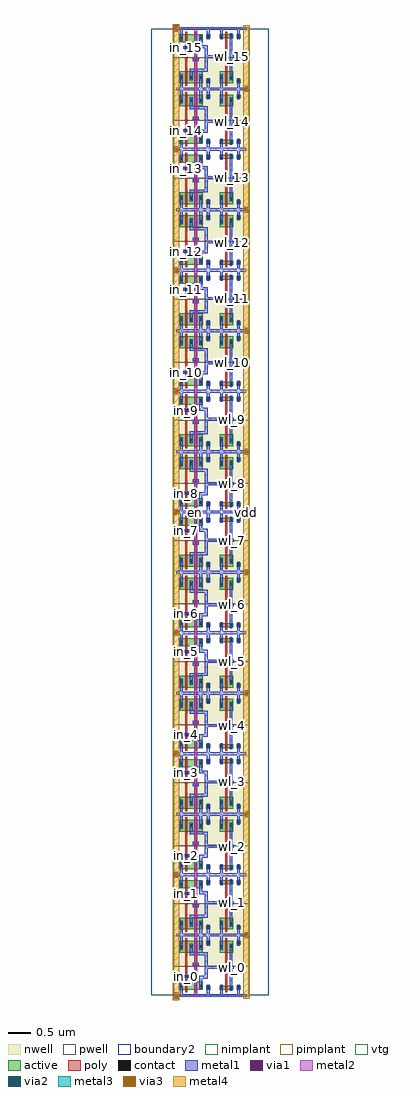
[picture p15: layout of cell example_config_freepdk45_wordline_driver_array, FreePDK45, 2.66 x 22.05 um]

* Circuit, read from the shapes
.subckt example_config_freepdk45_wordline_driver_array en gnd in_0 in_1 in_10 in_11 in_12 in_13 in_14 in_15 in_2 in_3 in_4 in_5 in_6 in_7 in_8 in_9 vdd wl_0 wl_1 wl_10 wl_11 wl_12 wl_13 wl_14 wl_15 wl_2 wl_3 wl_4 wl_5 wl_6 wl_7 wl_8 wl_9
M1 example_config_freepdk45_wordline_driver_0/example_config_freepdk45_pnand2_0/example_config_freepdk45_nmos_m1_w0_180_sm1_dactive_2/D in_0 gnd gnd nfet w=0.18u l=0.05u
M2 example_config_freepdk45_wordline_driver_1/example_config_freepdk45_pnand2_0/example_config_freepdk45_nmos_m1_w0_180_sm1_dactive_2/D in_1 gnd gnd nfet w=0.18u l=0.05u
M3 example_config_freepdk45_wordline_driver_2/example_config_freepdk45_pnand2_0/example_config_freepdk45_nmos_m1_w0_180_sm1_dactive_2/D in_2 gnd gnd nfet w=0.18u l=0.05u
M4 example_config_freepdk45_wordline_driver_3/example_config_freepdk45_pnand2_0/example_config_freepdk45_nmos_m1_w0_180_sm1_dactive_2/D in_3 gnd gnd nfet w=0.18u l=0.05u
M5 example_config_freepdk45_wordline_driver_4/example_config_freepdk45_pnand2_0/example_config_freepdk45_nmos_m1_w0_180_sm1_dactive_2/D in_4 gnd gnd nfet w=0.18u l=0.05u
M6 example_config_freepdk45_wordline_driver_5/example_config_freepdk45_pnand2_0/example_config_freepdk45_nmos_m1_w0_180_sm1_dactive_2/D in_5 gnd gnd nfet w=0.18u l=0.05u
M7 example_config_freepdk45_wordline_driver_6/example_config_freepdk45_pnand2_0/example_config_freepdk45_nmos_m1_w0_180_sm1_dactive_2/D in_6 gnd gnd nfet w=0.18u l=0.05u
M8 example_config_freepdk45_wordline_driver_7/example_config_freepdk45_pnand2_0/example_config_freepdk45_nmos_m1_w0_180_sm1_dactive_2/D in_7 gnd gnd nfet w=0.18u l=0.05u
M9 example_config_freepdk45_wordline_driver_8/example_config_freepdk45_pnand2_0/example_config_freepdk45_nmos_m1_w0_180_sm1_dactive_2/D in_8 gnd gnd nfet w=0.18u l=0.05u
M10 example_config_freepdk45_wordline_driver_9/example_config_freepdk45_pnand2_0/example_config_freepdk45_nmos_m1_w0_180_sm1_dactive_2/D in_9 gnd gnd nfet w=0.18u l=0.05u
M11 example_config_freepdk45_wordline_driver_10/example_config_freepdk45_pnand2_0/example_config_freepdk45_nmos_m1_w0_180_sm1_dactive_2/D in_10 gnd gnd nfet w=0.18u l=0.05u
M12 example_config_freepdk45_wordline_driver_11/example_config_freepdk45_pnand2_0/example_config_freepdk45_nmos_m1_w0_180_sm1_dactive_2/D in_11 gnd gnd nfet w=0.18u l=0.05u
M13 example_config_freepdk45_wordline_driver_12/example_config_freepdk45_pnand2_0/example_config_freepdk45_nmos_m1_w0_180_sm1_dactive_2/D in_12 gnd gnd nfet w=0.18u l=0.05u
M14 example_config_freepdk45_wordline_driver_13/example_config_freepdk45_pnand2_0/example_config_freepdk45_nmos_m1_w0_180_sm1_dactive_2/D in_13 gnd gnd nfet w=0.18u l=0.05u
M15 example_config_freepdk45_wordline_driver_14/example_config_freepdk45_pnand2_0/example_config_freepdk45_nmos_m1_w0_180_sm1_dactive_2/D in_14 gnd gnd nfet w=0.18u l=0.05u
M16 example_config_freepdk45_wordline_driver_15/example_config_freepdk45_pnand2_0/example_config_freepdk45_nmos_m1_w0_180_sm1_dactive_2/D in_15 gnd gnd nfet w=0.18u l=0.05u
M17 example_config_freepdk45_wordline_driver_0/example_config_freepdk45_pinv_1/A en example_config_freepdk45_wordline_driver_0/example_config_freepdk45_pnand2_0/example_config_freepdk45_nmos_m1_w0_180_sm1_dactive_2/D gnd nfet w=0.18u l=0.05u
M18 example_config_freepdk45_wordline_driver_1/example_config_freepdk45_pinv_1/A en example_config_freepdk45_wordline_driver_1/example_config_freepdk45_pnand2_0/example_config_freepdk45_nmos_m1_w0_180_sm1_dactive_2/D gnd nfet w=0.18u l=0.05u
M19 example_config_freepdk45_wordline_driver_2/example_config_freepdk45_pinv_1/A en example_config_freepdk45_wordline_driver_2/example_config_freepdk45_pnand2_0/example_config_freepdk45_nmos_m1_w0_180_sm1_dactive_2/D gnd nfet w=0.18u l=0.05u
M20 example_config_freepdk45_wordline_driver_3/example_config_freepdk45_pinv_1/A en example_config_freepdk45_wordline_driver_3/example_config_freepdk45_pnand2_0/example_config_freepdk45_nmos_m1_w0_180_sm1_dactive_2/D gnd nfet w=0.18u l=0.05u
M21 example_config_freepdk45_wordline_driver_4/example_config_freepdk45_pinv_1/A en example_config_freepdk45_wordline_driver_4/example_config_freepdk45_pnand2_0/example_config_freepdk45_nmos_m1_w0_180_sm1_dactive_2/D gnd nfet w=0.18u l=0.05u
M22 example_config_freepdk45_wordline_driver_5/example_config_freepdk45_pinv_1/A en example_config_freepdk45_wordline_driver_5/example_config_freepdk45_pnand2_0/example_config_freepdk45_nmos_m1_w0_180_sm1_dactive_2/D gnd nfet w=0.18u l=0.05u
M23 example_config_freepdk45_wordline_driver_6/example_config_freepdk45_pinv_1/A en example_config_freepdk45_wordline_driver_6/example_config_freepdk45_pnand2_0/example_config_freepdk45_nmos_m1_w0_180_sm1_dactive_2/D gnd nfet w=0.18u l=0.05u
M24 example_config_freepdk45_wordline_driver_7/example_config_freepdk45_pinv_1/A en example_config_freepdk45_wordline_driver_7/example_config_freepdk45_pnand2_0/example_config_freepdk45_nmos_m1_w0_180_sm1_dactive_2/D gnd nfet w=0.18u l=0.05u
M25 example_config_freepdk45_wordline_driver_8/example_config_freepdk45_pinv_1/A en example_config_freepdk45_wordline_driver_8/example_config_freepdk45_pnand2_0/example_config_freepdk45_nmos_m1_w0_180_sm1_dactive_2/D gnd nfet w=0.18u l=0.05u
M26 example_config_freepdk45_wordline_driver_9/example_config_freepdk45_pinv_1/A en example_config_freepdk45_wordline_driver_9/example_config_freepdk45_pnand2_0/example_config_freepdk45_nmos_m1_w0_180_sm1_dactive_2/D gnd nfet w=0.18u l=0.05u
M27 example_config_freepdk45_wordline_driver_10/example_config_freepdk45_pinv_1/A en example_config_freepdk45_wordline_driver_10/example_config_freepdk45_pnand2_0/example_config_freepdk45_nmos_m1_w0_180_sm1_dactive_2/D gnd nfet w=0.18u l=0.05u
M28 example_config_freepdk45_wordline_driver_11/example_config_freepdk45_pinv_1/A en example_config_freepdk45_wordline_driver_11/example_config_freepdk45_pnand2_0/example_config_freepdk45_nmos_m1_w0_180_sm1_dactive_2/D gnd nfet w=0.18u l=0.05u
M29 example_config_freepdk45_wordline_driver_12/example_config_freepdk45_pinv_1/A en example_config_freepdk45_wordline_driver_12/example_config_freepdk45_pnand2_0/example_config_freepdk45_nmos_m1_w0_180_sm1_dactive_2/D gnd nfet w=0.18u l=0.05u
M30 example_config_freepdk45_wordline_driver_13/example_config_freepdk45_pinv_1/A en example_config_freepdk45_wordline_driver_13/example_config_freepdk45_pnand2_0/example_config_freepdk45_nmos_m1_w0_180_sm1_dactive_2/D gnd nfet w=0.18u l=0.05u
M31 example_config_freepdk45_wordline_driver_14/example_config_freepdk45_pinv_1/A en example_config_freepdk45_wordline_driver_14/example_config_freepdk45_pnand2_0/example_config_freepdk45_nmos_m1_w0_180_sm1_dactive_2/D gnd nfet w=0.18u l=0.05u
M32 example_config_freepdk45_wordline_driver_15/example_config_freepdk45_pinv_1/A en example_config_freepdk45_wordline_driver_15/example_config_freepdk45_pnand2_0/example_config_freepdk45_nmos_m1_w0_180_sm1_dactive_2/D gnd nfet w=0.18u l=0.05u
M33 wl_0 example_config_freepdk45_wordline_driver_0/example_config_freepdk45_pinv_1/A gnd gnd nfet w=0.09u l=0.05u
M34 wl_1 example_config_freepdk45_wordline_driver_1/example_config_freepdk45_pinv_1/A gnd gnd nfet w=0.09u l=0.05u
M35 wl_2 example_config_freepdk45_wordline_driver_2/example_config_freepdk45_pinv_1/A gnd gnd nfet w=0.09u l=0.05u
M36 wl_3 example_config_freepdk45_wordline_driver_3/example_config_freepdk45_pinv_1/A gnd gnd nfet w=0.09u l=0.05u
M37 wl_4 example_config_freepdk45_wordline_driver_4/example_config_freepdk45_pinv_1/A gnd gnd nfet w=0.09u l=0.05u
M38 wl_5 example_config_freepdk45_wordline_driver_5/example_config_freepdk45_pinv_1/A gnd gnd nfet w=0.09u l=0.05u
M39 wl_6 example_config_freepdk45_wordline_driver_6/example_config_freepdk45_pinv_1/A gnd gnd nfet w=0.09u l=0.05u
M40 wl_7 example_config_freepdk45_wordline_driver_7/example_config_freepdk45_pinv_1/A gnd gnd nfet w=0.09u l=0.05u
M41 wl_8 example_config_freepdk45_wordline_driver_8/example_config_freepdk45_pinv_1/A gnd gnd nfet w=0.09u l=0.05u
M42 wl_9 example_config_freepdk45_wordline_driver_9/example_config_freepdk45_pinv_1/A gnd gnd nfet w=0.09u l=0.05u
M43 wl_10 example_config_freepdk45_wordline_driver_10/example_config_freepdk45_pinv_1/A gnd gnd nfet w=0.09u l=0.05u
M44 wl_11 example_config_freepdk45_wordline_driver_11/example_config_freepdk45_pinv_1/A gnd gnd nfet w=0.09u l=0.05u
M45 wl_12 example_config_freepdk45_wordline_driver_12/example_config_freepdk45_pinv_1/A gnd gnd nfet w=0.09u l=0.05u
M46 wl_13 example_config_freepdk45_wordline_driver_13/example_config_freepdk45_pinv_1/A gnd gnd nfet w=0.09u l=0.05u
M47 wl_14 example_config_freepdk45_wordline_driver_14/example_config_freepdk45_pinv_1/A gnd gnd nfet w=0.09u l=0.05u
M48 wl_15 example_config_freepdk45_wordline_driver_15/example_config_freepdk45_pinv_1/A gnd gnd nfet w=0.09u l=0.05u
M49 example_config_freepdk45_wordline_driver_0/example_config_freepdk45_pinv_1/A in_0 vdd vdd pfet w=0.27u l=0.05u
M50 example_config_freepdk45_wordline_driver_1/example_config_freepdk45_pinv_1/A in_1 vdd vdd pfet w=0.27u l=0.05u
M51 example_config_freepdk45_wordline_driver_2/example_config_freepdk45_pinv_1/A in_2 vdd vdd pfet w=0.27u l=0.05u
M52 example_config_freepdk45_wordline_driver_3/example_config_freepdk45_pinv_1/A in_3 vdd vdd pfet w=0.27u l=0.05u
M53 example_config_freepdk45_wordline_driver_4/example_config_freepdk45_pinv_1/A in_4 vdd vdd pfet w=0.27u l=0.05u
M54 example_config_freepdk45_wordline_driver_5/example_config_freepdk45_pinv_1/A in_5 vdd vdd pfet w=0.27u l=0.05u
M55 example_config_freepdk45_wordline_driver_6/example_config_freepdk45_pinv_1/A in_6 vdd vdd pfet w=0.27u l=0.05u
M56 example_config_freepdk45_wordline_driver_7/example_config_freepdk45_pinv_1/A in_7 vdd vdd pfet w=0.27u l=0.05u
M57 example_config_freepdk45_wordline_driver_8/example_config_freepdk45_pinv_1/A in_8 vdd vdd pfet w=0.27u l=0.05u
M58 example_config_freepdk45_wordline_driver_9/example_config_freepdk45_pinv_1/A in_9 vdd vdd pfet w=0.27u l=0.05u
M59 example_config_freepdk45_wordline_driver_10/example_config_freepdk45_pinv_1/A in_10 vdd vdd pfet w=0.27u l=0.05u
M60 example_config_freepdk45_wordline_driver_11/example_config_freepdk45_pinv_1/A in_11 vdd vdd pfet w=0.27u l=0.05u
M61 example_config_freepdk45_wordline_driver_12/example_config_freepdk45_pinv_1/A in_12 vdd vdd pfet w=0.27u l=0.05u
M62 example_config_freepdk45_wordline_driver_13/example_config_freepdk45_pinv_1/A in_13 vdd vdd pfet w=0.27u l=0.05u
M63 example_config_freepdk45_wordline_driver_14/example_config_freepdk45_pinv_1/A in_14 vdd vdd pfet w=0.27u l=0.05u
M64 example_config_freepdk45_wordline_driver_15/example_config_freepdk45_pinv_1/A in_15 vdd vdd pfet w=0.27u l=0.05u
M65 vdd en example_config_freepdk45_wordline_driver_0/example_config_freepdk45_pinv_1/A vdd pfet w=0.27u l=0.05u
M66 vdd en example_config_freepdk45_wordline_driver_1/example_config_freepdk45_pinv_1/A vdd pfet w=0.27u l=0.05u
M67 vdd en example_config_freepdk45_wordline_driver_2/example_config_freepdk45_pinv_1/A vdd pfet w=0.27u l=0.05u
M68 vdd en example_config_freepdk45_wordline_driver_3/example_config_freepdk45_pinv_1/A vdd pfet w=0.27u l=0.05u
M69 vdd en example_config_freepdk45_wordline_driver_4/example_config_freepdk45_pinv_1/A vdd pfet w=0.27u l=0.05u
M70 vdd en example_config_freepdk45_wordline_driver_5/example_config_freepdk45_pinv_1/A vdd pfet w=0.27u l=0.05u
M71 vdd en example_config_freepdk45_wordline_driver_6/example_config_freepdk45_pinv_1/A vdd pfet w=0.27u l=0.05u
M72 vdd en example_config_freepdk45_wordline_driver_7/example_config_freepdk45_pinv_1/A vdd pfet w=0.27u l=0.05u
M73 vdd en example_config_freepdk45_wordline_driver_8/example_config_freepdk45_pinv_1/A vdd pfet w=0.27u l=0.05u
M74 vdd en example_config_freepdk45_wordline_driver_9/example_config_freepdk45_pinv_1/A vdd pfet w=0.27u l=0.05u
M75 vdd en example_config_freepdk45_wordline_driver_10/example_config_freepdk45_pinv_1/A vdd pfet w=0.27u l=0.05u
M76 vdd en example_config_freepdk45_wordline_driver_11/example_config_freepdk45_pinv_1/A vdd pfet w=0.27u l=0.05u
M77 vdd en example_config_freepdk45_wordline_driver_12/example_config_freepdk45_pinv_1/A vdd pfet w=0.27u l=0.05u
M78 vdd en example_config_freepdk45_wordline_driver_13/example_config_freepdk45_pinv_1/A vdd pfet w=0.27u l=0.05u
M79 vdd en example_config_freepdk45_wordline_driver_14/example_config_freepdk45_pinv_1/A vdd pfet w=0.27u l=0.05u
M80 vdd en example_config_freepdk45_wordline_driver_15/example_config_freepdk45_pinv_1/A vdd pfet w=0.27u l=0.05u
M81 wl_0 example_config_freepdk45_wordline_driver_0/example_config_freepdk45_pinv_1/A vdd vdd pfet w=0.27u l=0.05u
M82 wl_1 example_config_freepdk45_wordline_driver_1/example_config_freepdk45_pinv_1/A vdd vdd pfet w=0.27u l=0.05u
M83 wl_2 example_config_freepdk45_wordline_driver_2/example_config_freepdk45_pinv_1/A vdd vdd pfet w=0.27u l=0.05u
M84 wl_3 example_config_freepdk45_wordline_driver_3/example_config_freepdk45_pinv_1/A vdd vdd pfet w=0.27u l=0.05u
M85 wl_4 example_config_freepdk45_wordline_driver_4/example_config_freepdk45_pinv_1/A vdd vdd pfet w=0.27u l=0.05u
M86 wl_5 example_config_freepdk45_wordline_driver_5/example_config_freepdk45_pinv_1/A vdd vdd pfet w=0.27u l=0.05u
M87 wl_6 example_config_freepdk45_wordline_driver_6/example_config_freepdk45_pinv_1/A vdd vdd pfet w=0.27u l=0.05u
M88 wl_7 example_config_freepdk45_wordline_driver_7/example_config_freepdk45_pinv_1/A vdd vdd pfet w=0.27u l=0.05u
M89 wl_8 example_config_freepdk45_wordline_driver_8/example_config_freepdk45_pinv_1/A vdd vdd pfet w=0.27u l=0.05u
M90 wl_9 example_config_freepdk45_wordline_driver_9/example_config_freepdk45_pinv_1/A vdd vdd pfet w=0.27u l=0.05u
M91 wl_10 example_config_freepdk45_wordline_driver_10/example_config_freepdk45_pinv_1/A vdd vdd pfet w=0.27u l=0.05u
M92 wl_11 example_config_freepdk45_wordline_driver_11/example_config_freepdk45_pinv_1/A vdd vdd pfet w=0.27u l=0.05u
M93 wl_12 example_config_freepdk45_wordline_driver_12/example_config_freepdk45_pinv_1/A vdd vdd pfet w=0.27u l=0.05u
M94 wl_13 example_config_freepdk45_wordline_driver_13/example_config_freepdk45_pinv_1/A vdd vdd pfet w=0.27u l=0.05u
M95 wl_14 example_config_freepdk45_wordline_driver_14/example_config_freepdk45_pinv_1/A vdd vdd pfet w=0.27u l=0.05u
M96 wl_15 example_config_freepdk45_wordline_driver_15/example_config_freepdk45_pinv_1/A vdd vdd pfet w=0.27u l=0.05u
.ends

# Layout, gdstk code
import gdstk
lib = gdstk.Library(unit=1e-6, precision=5e-10)
def R(c, l, rs):  # rectangles x0, y0, x1, y1
    for r in rs: c.add(gdstk.rectangle(r[:2], r[2:], *l))
active = (1, 0)
pwell = (2, 0)
nwell = (3, 0)
nimplant = (4, 0)
pimplant = (5, 0)
vtg = (6, 0)
poly = (9, 0)
contact = (10, 0)
metal1 = (11, 0)
via1 = (12, 0)
metal2 = (13, 0)
via2 = (14, 0)
metal3 = (15, 0)
via3 = (16, 0)
metal4 = (17, 0)
boundary2 = (239, 0)

example_config_freepdk45 = lib.new_cell('example_config_freepdk45_contact_11')
R(example_config_freepdk45, active, [(0,0.0225,0.09,0.1125)])
R(example_config_freepdk45, nwell, [(-0.055,-0.0325,0.145,0.1675)])
R(example_config_freepdk45, pimplant, [(0,0.0225,0.09,0.1125)])
R(example_config_freepdk45, contact, [(0.0125,0.035,0.0775,0.1)])
R(example_config_freepdk45, metal1, [(0.0125,0,0.0775,0.135)])
R(example_config_freepdk45, boundary2, [(-0.055,-0.0325,0.145,0.1675)])

c_example_config_freepdk45 = lib.new_cell('example_config_freepdk45_pmos_m1_w0_270_sm1_dm1')
R(c_example_config_freepdk45, active, [(0,0,0.305,0.27)])
R(c_example_config_freepdk45, nwell, [(-0.08,-0.08,0.385,0.35)])
R(c_example_config_freepdk45, pimplant, [(0,0,0.305,0.27)])
R(c_example_config_freepdk45, vtg, [(-0.08,-0.08,0.385,0.35)])
R(c_example_config_freepdk45, poly, [(0.1275,-0.055,0.1775,0.325), (0.1275,-0.055,0.1775,0.325)])
R(c_example_config_freepdk45, metal1, [(0.0125,0.0675,0.0775,0.2025), (0.2275,0.0675,0.2925,0.2025)])
R(c_example_config_freepdk45, boundary2, [(-0.08,-0.08,0.385,0.35)])
c_example_config_freepdk45.add(gdstk.Reference(example_config_freepdk45, (0,0.0675)))
c_example_config_freepdk45.add(gdstk.Reference(example_config_freepdk45, (0.215,0.0675)))
c_example_config_freepdk45.add(gdstk.Label('G', (0.1525,0.135), layer=9, texttype=0))
c_example_config_freepdk45.add(gdstk.Label('S', (0.045,0.135), layer=11, texttype=0))
c_example_config_freepdk45.add(gdstk.Label('D', (0.26,0.135), layer=11, texttype=0))

c_example_config_freepdk45_ = lib.new_cell('example_config_freepdk45_contact_10')
R(c_example_config_freepdk45_, active, [(0,0.0225,0.09,0.1125)])
R(c_example_config_freepdk45_, pwell, [(-0.055,-0.0325,0.145,0.1675)])
R(c_example_config_freepdk45_, nimplant, [(0,0.0225,0.09,0.1125)])
R(c_example_config_freepdk45_, contact, [(0.0125,0.035,0.0775,0.1)])
R(c_example_config_freepdk45_, metal1, [(0.0125,0,0.0775,0.135)])
R(c_example_config_freepdk45_, boundary2, [(-0.055,-0.0325,0.145,0.1675)])

c_example_config_freepdk45__ = lib.new_cell('example_config_freepdk45_nmos_m1_w0_180_sm1_dactive')
R(c_example_config_freepdk45__, active, [(0,0,0.305,0.18), (0.215,0.045,0.305,0.135)])
R(c_example_config_freepdk45__, pwell, [(-0.08,-0.08,0.385,0.26)])
R(c_example_config_freepdk45__, nimplant, [(0,0,0.305,0.18)])
R(c_example_config_freepdk45__, vtg, [(-0.08,-0.08,0.385,0.26)])
R(c_example_config_freepdk45__, poly, [(0.1275,-0.055,0.1775,0.235), (0.1275,-0.055,0.1775,0.235)])
R(c_example_config_freepdk45__, metal1, [(0.0125,0.0225,0.0775,0.1575)])
R(c_example_config_freepdk45__, boundary2, [(-0.08,-0.08,0.385,0.26)])
c_example_config_freepdk45__.add(gdstk.Reference(c_example_config_freepdk45_, (0,0.0225)))
c_example_config_freepdk45__.add(gdstk.Label('G', (0.1525,0.09), layer=9, texttype=0))
c_example_config_freepdk45__.add(gdstk.Label('S', (0.045,0.09), layer=11, texttype=0))
c_example_config_freepdk45__.add(gdstk.Label('D', (0.26,0.09), layer=1, texttype=0))

c_example_config_freepdk45___ = lib.new_cell('example_config_freepdk45_nmos_m1_w0_180_sactive_dm1')
R(c_example_config_freepdk45___, active, [(0,0,0.305,0.18), (0,0.045,0.09,0.135)])
R(c_example_config_freepdk45___, pwell, [(-0.08,-0.08,0.385,0.26)])
R(c_example_config_freepdk45___, nimplant, [(0,0,0.305,0.18)])
R(c_example_config_freepdk45___, vtg, [(-0.08,-0.08,0.385,0.26)])
R(c_example_config_freepdk45___, poly, [(0.1275,-0.055,0.1775,0.235), (0.1275,-0.055,0.1775,0.235)])
R(c_example_config_freepdk45___, metal1, [(0.2275,0.0225,0.2925,0.1575)])
R(c_example_config_freepdk45___, boundary2, [(-0.08,-0.08,0.385,0.26)])
c_example_config_freepdk45___.add(gdstk.Reference(c_example_config_freepdk45_, (0.215,0.0225)))
c_example_config_freepdk45___.add(gdstk.Label('G', (0.1525,0.09), layer=9, texttype=0))
c_example_config_freepdk45___.add(gdstk.Label('S', (0.045,0.09), layer=1, texttype=0))
c_example_config_freepdk45___.add(gdstk.Label('D', (0.26,0.09), layer=11, texttype=0))

c_example_config_freepdk45____ = lib.new_cell('example_config_freepdk45_contact_12')
R(c_example_config_freepdk45____, active, [(0,0.0225,0.09,0.1125)])
R(c_example_config_freepdk45____, nwell, [(-0.055,-0.0325,0.145,0.1675)])
R(c_example_config_freepdk45____, nimplant, [(0,0.0225,0.09,0.1125)])
R(c_example_config_freepdk45____, contact, [(0.0125,0.035,0.0775,0.1)])
R(c_example_config_freepdk45____, metal1, [(0.0125,0,0.0775,0.135)])
R(c_example_config_freepdk45____, boundary2, [(-0.055,-0.0325,0.145,0.1675)])

c_example_config_freepdk45_____ = lib.new_cell('example_config_freepdk45_contact_13')
R(c_example_config_freepdk45_____, active, [(0,0.0225,0.09,0.1125)])
R(c_example_config_freepdk45_____, pwell, [(-0.055,-0.0325,0.145,0.1675)])
R(c_example_config_freepdk45_____, pimplant, [(0,0.0225,0.09,0.1125)])
R(c_example_config_freepdk45_____, contact, [(0.0125,0.035,0.0775,0.1)])
R(c_example_config_freepdk45_____, metal1, [(0.0125,0,0.0775,0.135)])
R(c_example_config_freepdk45_____, boundary2, [(-0.055,-0.0325,0.145,0.1675)])

c_example_config_freepdk45______ = lib.new_cell('example_config_freepdk45_contact_14')
R(c_example_config_freepdk45______, poly, [(0.03,0,0.105,0.075)])
R(c_example_config_freepdk45______, contact, [(0.035,0.005,0.1,0.07)])
R(c_example_config_freepdk45______, metal1, [(0,0.005,0.135,0.07)])
R(c_example_config_freepdk45______, boundary2, [(0,0,0.135,0.075)])

c_example_config_freepdk45_______ = lib.new_cell('example_config_freepdk45_pnand2')
R(c_example_config_freepdk45_______, pwell, [(-0.055,-0.0325,0.9575,0.655)])
R(c_example_config_freepdk45_______, nwell, [(-0.055,0.655,0.9575,1.4)])
R(c_example_config_freepdk45_______, vtg, [(-0.055,-0.0325,0.9575,0.655), (-0.055,0.655,0.9575,1.4)])
R(c_example_config_freepdk45_______, poly, [(0.2075,0.36,0.2575,0.915), (0.4225,0.36,0.4725,0.915), (0.2075,0.39,0.2325,0.465), (0.4225,0.67,0.4475,0.745)])
R(c_example_config_freepdk45_______, metal1, [(0,-0.0325,0.9025,0.0325), (0.0925,-0.0325,0.1575,0.1475), (0.6925,0,0.7575,0.17), (0.5225,0.2825,0.5875,0.4125), (0.5225,0.38,0.5875,0.445), (0.555,0.38,0.685,0.445), (0.6525,0.38,0.7175,0.445), (0.165,0.395,0.3,0.46), (0.6525,0.4125,0.7175,0.94), (0.38,0.675,0.515,0.74), (0.3075,0.9075,0.3725,0.9725), (0.34,0.9075,0.685,0.9725), (0.6525,0.9075,0.7175,0.9725), (0.3075,0.94,0.3725,1.0375), (0.0925,1.0375,0.1575,1.3975), (0.5225,1.0375,0.5875,1.3975), (0.6925,1.195,0.7575,1.365), (0,1.3325,0.9025,1.3975)])
R(c_example_config_freepdk45_______, boundary2, [(0,0,0.9025,1.365), (0,0,0.9025,1.365)])
c_example_config_freepdk45_______.add(gdstk.Reference(c_example_config_freepdk45, (0.08,0.97)))
c_example_config_freepdk45_______.add(gdstk.Reference(c_example_config_freepdk45, (0.295,0.97)))
c_example_config_freepdk45_______.add(gdstk.Reference(c_example_config_freepdk45__, (0.08,0.125)))
c_example_config_freepdk45_______.add(gdstk.Reference(c_example_config_freepdk45___, (0.295,0.125)))
c_example_config_freepdk45_______.add(gdstk.Reference(c_example_config_freepdk45____, (0.68,1.1275)))
c_example_config_freepdk45_______.add(gdstk.Reference(c_example_config_freepdk45_____, (0.68,0.1025)))
c_example_config_freepdk45_______.add(gdstk.Reference(c_example_config_freepdk45______, (0.165,0.39)))
c_example_config_freepdk45_______.add(gdstk.Reference(c_example_config_freepdk45______, (0.38,0.67)))
c_example_config_freepdk45_______.add(gdstk.Label('Z', (0.685,0.94), layer=11, texttype=0))
c_example_config_freepdk45_______.add(gdstk.Label('gnd', (0.451,0), layer=11, texttype=0))
c_example_config_freepdk45_______.add(gdstk.Label('vdd', (0.451,1.365), layer=11, texttype=0))
c_example_config_freepdk45_______.add(gdstk.Label('A', (0.2325,0.4275), layer=11, texttype=0))
c_example_config_freepdk45_______.add(gdstk.Label('B', (0.4475,0.7075), layer=11, texttype=0))

c_example_config_freepdk45________ = lib.new_cell('example_config_freepdk45_pmos_m1_w0_270_sm1_dm1_da_p')
R(c_example_config_freepdk45________, active, [(0,0,0.305,0.27)])
R(c_example_config_freepdk45________, nwell, [(-0.08,-0.08,0.385,0.35)])
R(c_example_config_freepdk45________, pimplant, [(0,0,0.305,0.27)])
R(c_example_config_freepdk45________, vtg, [(-0.08,-0.08,0.385,0.35)])
R(c_example_config_freepdk45________, poly, [(0.1275,-0.055,0.1775,0.325), (0.1275,-0.055,0.1775,0.325)])
R(c_example_config_freepdk45________, metal1, [(0.0125,0.0675,0.0775,0.2025), (0.2275,0.0675,0.2925,0.2025)])
R(c_example_config_freepdk45________, boundary2, [(-0.08,-0.08,0.385,0.35)])
c_example_config_freepdk45________.add(gdstk.Reference(example_config_freepdk45, (0,0.0675)))
c_example_config_freepdk45________.add(gdstk.Reference(example_config_freepdk45, (0.215,0.0675)))
c_example_config_freepdk45________.add(gdstk.Label('G', (0.1525,0.135), layer=9, texttype=0))
c_example_config_freepdk45________.add(gdstk.Label('S', (0.045,0.135), layer=11, texttype=0))
c_example_config_freepdk45________.add(gdstk.Label('D', (0.26,0.135), layer=11, texttype=0))

c_example_config_freepdk45_________ = lib.new_cell('example_config_freepdk45_nmos_m1_w0_090_sm1_dm1_da_p')
R(c_example_config_freepdk45_________, active, [(0,0,0.305,0.09)])
R(c_example_config_freepdk45_________, pwell, [(-0.08,-0.08,0.385,0.17)])
R(c_example_config_freepdk45_________, nimplant, [(0,0,0.305,0.09)])
R(c_example_config_freepdk45_________, vtg, [(-0.08,-0.08,0.385,0.17)])
R(c_example_config_freepdk45_________, poly, [(0.1275,-0.055,0.1775,0.145), (0.1275,-0.055,0.1775,0.145)])
R(c_example_config_freepdk45_________, metal1, [(0.0125,-0.0225,0.0775,0.1125), (0.2275,-0.0225,0.2925,0.1125)])
R(c_example_config_freepdk45_________, boundary2, [(-0.08,-0.08,0.385,0.17)])
c_example_config_freepdk45_________.add(gdstk.Reference(c_example_config_freepdk45_, (0,-0.0225)))
c_example_config_freepdk45_________.add(gdstk.Reference(c_example_config_freepdk45_, (0.215,-0.0225)))
c_example_config_freepdk45_________.add(gdstk.Label('G', (0.1525,0.045), layer=9, texttype=0))
c_example_config_freepdk45_________.add(gdstk.Label('S', (0.045,0.045), layer=11, texttype=0))
c_example_config_freepdk45_________.add(gdstk.Label('D', (0.26,0.045), layer=11, texttype=0))

c_example_config_freepdk45__________ = lib.new_cell('example_config_freepdk45_pinv')
R(c_example_config_freepdk45__________, pwell, [(-0.055,-0.0325,0.7425,0.655)])
R(c_example_config_freepdk45__________, nwell, [(-0.055,0.655,0.7425,1.4)])
R(c_example_config_freepdk45__________, vtg, [(-0.055,-0.0325,0.7425,0.655), (-0.055,0.655,0.7425,1.4)])
R(c_example_config_freepdk45__________, poly, [(0.2075,0.27,0.2575,0.915), (0.14,0.6,0.2075,0.675)])
R(c_example_config_freepdk45__________, metal1, [(0,-0.0325,0.6875,0.0325), (0.0925,-0.0325,0.1575,0.1025), (0.4775,0,0.5425,0.17), (0.3075,0.1025,0.3725,1.1725), (0.0725,0.605,0.2075,0.67), (0.34,0.605,0.405,0.67), (0.0925,1.0375,0.1575,1.3975), (0.4775,1.195,0.5425,1.365), (0,1.3325,0.6875,1.3975)])
R(c_example_config_freepdk45__________, boundary2, [(0,0,0.6875,1.365), (0,0,0.6875,1.365)])
c_example_config_freepdk45__________.add(gdstk.Reference(c_example_config_freepdk45________, (0.08,0.97)))
c_example_config_freepdk45__________.add(gdstk.Reference(c_example_config_freepdk45_________, (0.08,0.125)))
c_example_config_freepdk45__________.add(gdstk.Reference(c_example_config_freepdk45____, (0.465,1.1275)))
c_example_config_freepdk45__________.add(gdstk.Reference(c_example_config_freepdk45_____, (0.465,0.1025)))
c_example_config_freepdk45__________.add(gdstk.Reference(c_example_config_freepdk45______, (0.0725,0.6)))
c_example_config_freepdk45__________.add(gdstk.Label('A', (0.14,0.6375), layer=11, texttype=0))
c_example_config_freepdk45__________.add(gdstk.Label('Z', (0.3725,0.6375), layer=11, texttype=0))
c_example_config_freepdk45__________.add(gdstk.Label('gnd', (0.344,0), layer=11, texttype=0))
c_example_config_freepdk45__________.add(gdstk.Label('vdd', (0.344,1.365), layer=11, texttype=0))

c_example_config_freepdk45___________ = lib.new_cell('example_config_freepdk45_wordline_driver')
R(c_example_config_freepdk45___________, metal1, [(0,-0.0325,1.59,0.0325), (0.165,0.395,0.3,0.46), (0.6525,0.605,0.7175,0.67), (0.685,0.605,1.0425,0.67), (1.2425,0.605,1.3075,0.67), (0.6525,0.6375,0.7175,0.94), (0.38,0.675,0.515,0.74), (0,1.3325,1.59,1.3975)])
R(c_example_config_freepdk45___________, boundary2, [(0,0,1.59,1.365)])
c_example_config_freepdk45___________.add(gdstk.Reference(c_example_config_freepdk45_______, (0,0)))
c_example_config_freepdk45___________.add(gdstk.Reference(c_example_config_freepdk45__________, (0.9025,0)))
c_example_config_freepdk45___________.add(gdstk.Label('Z', (1.275,0.6375), layer=11, texttype=0))
c_example_config_freepdk45___________.add(gdstk.Label('A', (0.2325,0.4275), layer=11, texttype=0))
c_example_config_freepdk45___________.add(gdstk.Label('B', (0.4475,0.7075), layer=11, texttype=0))
c_example_config_freepdk45___________.add(gdstk.Label('gnd', (0.795,0), layer=11, texttype=0))
c_example_config_freepdk45___________.add(gdstk.Label('vdd', (0.795,1.365), layer=11, texttype=0))

c_example_config_freepdk45____________ = lib.new_cell('example_config_freepdk45_contact_17')
R(c_example_config_freepdk45____________, metal1, [(0,0.035,0.135,0.1)])
R(c_example_config_freepdk45____________, via1, [(0.035,0.035,0.1,0.1)])
R(c_example_config_freepdk45____________, metal2, [(0.0325,0,0.1025,0.135)])
R(c_example_config_freepdk45____________, boundary2, [(0,0,0.135,0.135)])

c_example_config_freepdk45_____________ = lib.new_cell('example_config_freepdk45_contact_18')
R(c_example_config_freepdk45_____________, metal2, [(0.0325,0,0.1025,0.135)])
R(c_example_config_freepdk45_____________, via2, [(0.035,0.035,0.1,0.1)])
R(c_example_config_freepdk45_____________, metal3, [(0,0.0325,0.135,0.1025)])
R(c_example_config_freepdk45_____________, boundary2, [(0,0,0.135,0.135)])

c_example_config_freepdk45______________ = lib.new_cell('example_config_freepdk45_contact_21')
R(c_example_config_freepdk45______________, metal3, [(0,0.035,0.14,0.105)])
R(c_example_config_freepdk45______________, via3, [(0.035,0.035,0.105,0.105)])
R(c_example_config_freepdk45______________, metal4, [(0,0,0.14,0.14)])
R(c_example_config_freepdk45______________, boundary2, [(0,0,0.14,0.14)])

c_example_config_freepdk45_______________ = lib.new_cell('example_config_freepdk45_wordline_driver_array')
R(c_example_config_freepdk45_______________, metal1, [(0.725,0.395,0.86,0.46), (1.8025,0.605,1.8675,0.67), (1.8025,2.06,1.8675,2.125), (0.725,2.27,0.86,2.335), (0.725,3.125,0.86,3.19), (1.8025,3.335,1.8675,3.4), (1.8025,4.79,1.8675,4.855), (0.725,5,0.86,5.065), (0.725,5.855,0.86,5.92), (1.8025,6.065,1.8675,6.13), (1.8025,7.52,1.8675,7.585), (0.725,7.73,0.86,7.795), (0.725,8.585,0.86,8.65), (1.8025,8.795,1.8675,8.86), (1.8025,10.25,1.8675,10.315), (0.725,10.46,0.86,10.525), (0.725,11.315,0.86,11.38), (1.8025,11.525,1.8675,11.59), (1.8025,12.98,1.8675,13.045), (0.725,13.19,0.86,13.255), (0.725,14.045,0.86,14.11), (1.8025,14.255,1.8675,14.32), (1.8025,15.71,1.8675,15.775), (0.725,15.92,0.86,15.985), (0.725,16.775,0.86,16.84), (1.8025,16.985,1.8675,17.05), (1.8025,18.44,1.8675,18.505), (0.725,18.65,0.86,18.715), (0.725,19.505,0.86,19.57), (1.8025,19.715,1.8675,19.78), (1.8025,21.17,1.8675,21.235), (0.725,21.38,0.86,21.445)])
R(c_example_config_freepdk45_______________, metal2, [(0.9725,0,1.0425,21.84)])
R(c_example_config_freepdk45_______________, metal4, [(0.49,-0.1025,0.63,21.9425), (2.08,-0.07,2.22,21.91)])
R(c_example_config_freepdk45_______________, boundary2, [(0,0,2.655,21.84)])
c_example_config_freepdk45_______________.add(gdstk.Reference(c_example_config_freepdk45___________, (0.56,0)))
c_example_config_freepdk45_______________.add(gdstk.Reference(c_example_config_freepdk45___________, (0.56,2.73), x_reflection=True))
c_example_config_freepdk45_______________.add(gdstk.Reference(c_example_config_freepdk45___________, (0.56,2.73)))
c_example_config_freepdk45_______________.add(gdstk.Reference(c_example_config_freepdk45___________, (0.56,5.46), x_reflection=True))
c_example_config_freepdk45_______________.add(gdstk.Reference(c_example_config_freepdk45___________, (0.56,5.46)))
c_example_config_freepdk45_______________.add(gdstk.Reference(c_example_config_freepdk45___________, (0.56,8.19), x_reflection=True))
c_example_config_freepdk45_______________.add(gdstk.Reference(c_example_config_freepdk45___________, (0.56,8.19)))
c_example_config_freepdk45_______________.add(gdstk.Reference(c_example_config_freepdk45___________, (0.56,10.92), x_reflection=True))
c_example_config_freepdk45_______________.add(gdstk.Reference(c_example_config_freepdk45___________, (0.56,10.92)))
c_example_config_freepdk45_______________.add(gdstk.Reference(c_example_config_freepdk45___________, (0.56,13.65), x_reflection=True))
c_example_config_freepdk45_______________.add(gdstk.Reference(c_example_config_freepdk45___________, (0.56,13.65)))
c_example_config_freepdk45_______________.add(gdstk.Reference(c_example_config_freepdk45___________, (0.56,16.38), x_reflection=True))
c_example_config_freepdk45_______________.add(gdstk.Reference(c_example_config_freepdk45___________, (0.56,16.38)))
c_example_config_freepdk45_______________.add(gdstk.Reference(c_example_config_freepdk45___________, (0.56,19.11), x_reflection=True))
c_example_config_freepdk45_______________.add(gdstk.Reference(c_example_config_freepdk45___________, (0.56,19.11)))
c_example_config_freepdk45_______________.add(gdstk.Reference(c_example_config_freepdk45___________, (0.56,21.84), x_reflection=True))
c_example_config_freepdk45_______________.add(gdstk.Reference(c_example_config_freepdk45____________, (0.94,0.64)))
c_example_config_freepdk45_______________.add(gdstk.Reference(c_example_config_freepdk45____________, (0.94,1.955)))
c_example_config_freepdk45_______________.add(gdstk.Reference(c_example_config_freepdk45____________, (0.94,3.37)))
c_example_config_freepdk45_______________.add(gdstk.Reference(c_example_config_freepdk45____________, (0.94,4.685)))
c_example_config_freepdk45_______________.add(gdstk.Reference(c_example_config_freepdk45____________, (0.94,6.1)))
c_example_config_freepdk45_______________.add(gdstk.Reference(c_example_config_freepdk45____________, (0.94,7.415)))
c_example_config_freepdk45_______________.add(gdstk.Reference(c_example_config_freepdk45____________, (0.94,8.83)))
c_example_config_freepdk45_______________.add(gdstk.Reference(c_example_config_freepdk45____________, (0.94,10.145)))
c_example_config_freepdk45_______________.add(gdstk.Reference(c_example_config_freepdk45____________, (0.94,11.56)))
c_example_config_freepdk45_______________.add(gdstk.Reference(c_example_config_freepdk45____________, (0.94,12.875)))
c_example_config_freepdk45_______________.add(gdstk.Reference(c_example_config_freepdk45____________, (0.94,14.29)))
c_example_config_freepdk45_______________.add(gdstk.Reference(c_example_config_freepdk45____________, (0.94,15.605)))
c_example_config_freepdk45_______________.add(gdstk.Reference(c_example_config_freepdk45____________, (0.94,17.02)))
c_example_config_freepdk45_______________.add(gdstk.Reference(c_example_config_freepdk45____________, (0.94,18.335)))
c_example_config_freepdk45_______________.add(gdstk.Reference(c_example_config_freepdk45____________, (0.94,19.75)))
c_example_config_freepdk45_______________.add(gdstk.Reference(c_example_config_freepdk45____________, (0.94,21.065)))
c_example_config_freepdk45_______________.add(gdstk.Reference(c_example_config_freepdk45____________, (2.0825,1.2975)))
c_example_config_freepdk45_______________.add(gdstk.Reference(c_example_config_freepdk45_____________, (2.0825,1.2975)))
c_example_config_freepdk45_______________.add(gdstk.Reference(c_example_config_freepdk45______________, (2.08,1.295)))
c_example_config_freepdk45_______________.add(gdstk.Reference(c_example_config_freepdk45____________, (2.0825,1.2975)))
c_example_config_freepdk45_______________.add(gdstk.Reference(c_example_config_freepdk45_____________, (2.0825,1.2975)))
c_example_config_freepdk45_______________.add(gdstk.Reference(c_example_config_freepdk45______________, (2.08,1.295)))
c_example_config_freepdk45_______________.add(gdstk.Reference(c_example_config_freepdk45____________, (2.0825,4.0275)))
c_example_config_freepdk45_______________.add(gdstk.Reference(c_example_config_freepdk45_____________, (2.0825,4.0275)))
c_example_config_freepdk45_______________.add(gdstk.Reference(c_example_config_freepdk45______________, (2.08,4.025)))
c_example_config_freepdk45_______________.add(gdstk.Reference(c_example_config_freepdk45____________, (2.0825,4.0275)))
c_example_config_freepdk45_______________.add(gdstk.Reference(c_example_config_freepdk45_____________, (2.0825,4.0275)))
c_example_config_freepdk45_______________.add(gdstk.Reference(c_example_config_freepdk45______________, (2.08,4.025)))
c_example_config_freepdk45_______________.add(gdstk.Reference(c_example_config_freepdk45____________, (2.0825,6.7575)))
c_example_config_freepdk45_______________.add(gdstk.Reference(c_example_config_freepdk45_____________, (2.0825,6.7575)))
c_example_config_freepdk45_______________.add(gdstk.Reference(c_example_config_freepdk45______________, (2.08,6.755)))
c_example_config_freepdk45_______________.add(gdstk.Reference(c_example_config_freepdk45____________, (2.0825,6.7575)))
c_example_config_freepdk45_______________.add(gdstk.Reference(c_example_config_freepdk45_____________, (2.0825,6.7575)))
c_example_config_freepdk45_______________.add(gdstk.Reference(c_example_config_freepdk45______________, (2.08,6.755)))
c_example_config_freepdk45_______________.add(gdstk.Reference(c_example_config_freepdk45____________, (2.0825,9.4875)))
c_example_config_freepdk45_______________.add(gdstk.Reference(c_example_config_freepdk45_____________, (2.0825,9.4875)))
c_example_config_freepdk45_______________.add(gdstk.Reference(c_example_config_freepdk45______________, (2.08,9.485)))
c_example_config_freepdk45_______________.add(gdstk.Reference(c_example_config_freepdk45____________, (2.0825,9.4875)))
c_example_config_freepdk45_______________.add(gdstk.Reference(c_example_config_freepdk45_____________, (2.0825,9.4875)))
c_example_config_freepdk45_______________.add(gdstk.Reference(c_example_config_freepdk45______________, (2.08,9.485)))
c_example_config_freepdk45_______________.add(gdstk.Reference(c_example_config_freepdk45____________, (2.0825,12.2175)))
c_example_config_freepdk45_______________.add(gdstk.Reference(c_example_config_freepdk45_____________, (2.0825,12.2175)))
c_example_config_freepdk45_______________.add(gdstk.Reference(c_example_config_freepdk45______________, (2.08,12.215)))
c_example_config_freepdk45_______________.add(gdstk.Reference(c_example_config_freepdk45____________, (2.0825,12.2175)))
c_example_config_freepdk45_______________.add(gdstk.Reference(c_example_config_freepdk45_____________, (2.0825,12.2175)))
c_example_config_freepdk45_______________.add(gdstk.Reference(c_example_config_freepdk45______________, (2.08,12.215)))
c_example_config_freepdk45_______________.add(gdstk.Reference(c_example_config_freepdk45____________, (2.0825,14.9475)))
c_example_config_freepdk45_______________.add(gdstk.Reference(c_example_config_freepdk45_____________, (2.0825,14.9475)))
c_example_config_freepdk45_______________.add(gdstk.Reference(c_example_config_freepdk45______________, (2.08,14.945)))
c_example_config_freepdk45_______________.add(gdstk.Reference(c_example_config_freepdk45____________, (2.0825,14.9475)))
c_example_config_freepdk45_______________.add(gdstk.Reference(c_example_config_freepdk45_____________, (2.0825,14.9475)))
c_example_config_freepdk45_______________.add(gdstk.Reference(c_example_config_freepdk45______________, (2.08,14.945)))
c_example_config_freepdk45_______________.add(gdstk.Reference(c_example_config_freepdk45____________, (2.0825,17.6775)))
c_example_config_freepdk45_______________.add(gdstk.Reference(c_example_config_freepdk45_____________, (2.0825,17.6775)))
c_example_config_freepdk45_______________.add(gdstk.Reference(c_example_config_freepdk45______________, (2.08,17.675)))
c_example_config_freepdk45_______________.add(gdstk.Reference(c_example_config_freepdk45____________, (2.0825,17.6775)))
c_example_config_freepdk45_______________.add(gdstk.Reference(c_example_config_freepdk45_____________, (2.0825,17.6775)))
c_example_config_freepdk45_______________.add(gdstk.Reference(c_example_config_freepdk45______________, (2.08,17.675)))
c_example_config_freepdk45_______________.add(gdstk.Reference(c_example_config_freepdk45____________, (2.0825,20.4075)))
c_example_config_freepdk45_______________.add(gdstk.Reference(c_example_config_freepdk45_____________, (2.0825,20.4075)))
c_example_config_freepdk45_______________.add(gdstk.Reference(c_example_config_freepdk45______________, (2.08,20.405)))
c_example_config_freepdk45_______________.add(gdstk.Reference(c_example_config_freepdk45____________, (2.0825,20.4075)))
c_example_config_freepdk45_______________.add(gdstk.Reference(c_example_config_freepdk45_____________, (2.0825,20.4075)))
c_example_config_freepdk45_______________.add(gdstk.Reference(c_example_config_freepdk45______________, (2.08,20.405)))
c_example_config_freepdk45_______________.add(gdstk.Reference(c_example_config_freepdk45____________, (0.4925,-0.0675)))
c_example_config_freepdk45_______________.add(gdstk.Reference(c_example_config_freepdk45_____________, (0.4925,-0.0675)))
c_example_config_freepdk45_______________.add(gdstk.Reference(c_example_config_freepdk45______________, (0.49,-0.07)))
c_example_config_freepdk45_______________.add(gdstk.Reference(c_example_config_freepdk45____________, (0.4925,2.6625)))
c_example_config_freepdk45_______________.add(gdstk.Reference(c_example_config_freepdk45_____________, (0.4925,2.6625)))
c_example_config_freepdk45_______________.add(gdstk.Reference(c_example_config_freepdk45______________, (0.49,2.66)))
c_example_config_freepdk45_______________.add(gdstk.Reference(c_example_config_freepdk45____________, (0.4925,2.6625)))
c_example_config_freepdk45_______________.add(gdstk.Reference(c_example_config_freepdk45_____________, (0.4925,2.6625)))
c_example_config_freepdk45_______________.add(gdstk.Reference(c_example_config_freepdk45______________, (0.49,2.66)))
c_example_config_freepdk45_______________.add(gdstk.Reference(c_example_config_freepdk45____________, (0.4925,5.3925)))
c_example_config_freepdk45_______________.add(gdstk.Reference(c_example_config_freepdk45_____________, (0.4925,5.3925)))
c_example_config_freepdk45_______________.add(gdstk.Reference(c_example_config_freepdk45______________, (0.49,5.39)))
c_example_config_freepdk45_______________.add(gdstk.Reference(c_example_config_freepdk45____________, (0.4925,5.3925)))
c_example_config_freepdk45_______________.add(gdstk.Reference(c_example_config_freepdk45_____________, (0.4925,5.3925)))
c_example_config_freepdk45_______________.add(gdstk.Reference(c_example_config_freepdk45______________, (0.49,5.39)))
c_example_config_freepdk45_______________.add(gdstk.Reference(c_example_config_freepdk45____________, (0.4925,8.1225)))
c_example_config_freepdk45_______________.add(gdstk.Reference(c_example_config_freepdk45_____________, (0.4925,8.1225)))
c_example_config_freepdk45_______________.add(gdstk.Reference(c_example_config_freepdk45______________, (0.49,8.12)))
c_example_config_freepdk45_______________.add(gdstk.Reference(c_example_config_freepdk45____________, (0.4925,8.1225)))
c_example_config_freepdk45_______________.add(gdstk.Reference(c_example_config_freepdk45_____________, (0.4925,8.1225)))
c_example_config_freepdk45_______________.add(gdstk.Reference(c_example_config_freepdk45______________, (0.49,8.12)))
c_example_config_freepdk45_______________.add(gdstk.Reference(c_example_config_freepdk45____________, (0.4925,10.8525)))
c_example_config_freepdk45_______________.add(gdstk.Reference(c_example_config_freepdk45_____________, (0.4925,10.8525)))
c_example_config_freepdk45_______________.add(gdstk.Reference(c_example_config_freepdk45______________, (0.49,10.85)))
c_example_config_freepdk45_______________.add(gdstk.Reference(c_example_config_freepdk45____________, (0.4925,10.8525)))
c_example_config_freepdk45_______________.add(gdstk.Reference(c_example_config_freepdk45_____________, (0.4925,10.8525)))
c_example_config_freepdk45_______________.add(gdstk.Reference(c_example_config_freepdk45______________, (0.49,10.85)))
c_example_config_freepdk45_______________.add(gdstk.Reference(c_example_config_freepdk45____________, (0.4925,13.5825)))
c_example_config_freepdk45_______________.add(gdstk.Reference(c_example_config_freepdk45_____________, (0.4925,13.5825)))
c_example_config_freepdk45_______________.add(gdstk.Reference(c_example_config_freepdk45______________, (0.49,13.58)))
c_example_config_freepdk45_______________.add(gdstk.Reference(c_example_config_freepdk45____________, (0.4925,13.5825)))
c_example_config_freepdk45_______________.add(gdstk.Reference(c_example_config_freepdk45_____________, (0.4925,13.5825)))
c_example_config_freepdk45_______________.add(gdstk.Reference(c_example_config_freepdk45______________, (0.49,13.58)))
c_example_config_freepdk45_______________.add(gdstk.Reference(c_example_config_freepdk45____________, (0.4925,16.3125)))
c_example_config_freepdk45_______________.add(gdstk.Reference(c_example_config_freepdk45_____________, (0.4925,16.3125)))
c_example_config_freepdk45_______________.add(gdstk.Reference(c_example_config_freepdk45______________, (0.49,16.31)))
c_example_config_freepdk45_______________.add(gdstk.Reference(c_example_config_freepdk45____________, (0.4925,16.3125)))
c_example_config_freepdk45_______________.add(gdstk.Reference(c_example_config_freepdk45_____________, (0.4925,16.3125)))
c_example_config_freepdk45_______________.add(gdstk.Reference(c_example_config_freepdk45______________, (0.49,16.31)))
c_example_config_freepdk45_______________.add(gdstk.Reference(c_example_config_freepdk45____________, (0.4925,19.0425)))
c_example_config_freepdk45_______________.add(gdstk.Reference(c_example_config_freepdk45_____________, (0.4925,19.0425)))
c_example_config_freepdk45_______________.add(gdstk.Reference(c_example_config_freepdk45______________, (0.49,19.04)))
c_example_config_freepdk45_______________.add(gdstk.Reference(c_example_config_freepdk45____________, (0.4925,19.0425)))
c_example_config_freepdk45_______________.add(gdstk.Reference(c_example_config_freepdk45_____________, (0.4925,19.0425)))
c_example_config_freepdk45_______________.add(gdstk.Reference(c_example_config_freepdk45______________, (0.49,19.04)))
c_example_config_freepdk45_______________.add(gdstk.Reference(c_example_config_freepdk45____________, (0.4925,21.7725)))
c_example_config_freepdk45_______________.add(gdstk.Reference(c_example_config_freepdk45_____________, (0.4925,21.7725)))
c_example_config_freepdk45_______________.add(gdstk.Reference(c_example_config_freepdk45______________, (0.49,21.77)))
c_example_config_freepdk45_______________.add(gdstk.Label('en', (1.0075,10.92), layer=13, texttype=0))
c_example_config_freepdk45_______________.add(gdstk.Label('in_0', (0.7925,0.4275), layer=11, texttype=0))
c_example_config_freepdk45_______________.add(gdstk.Label('wl_0', (1.835,0.6375), layer=11, texttype=0))
c_example_config_freepdk45_______________.add(gdstk.Label('in_1', (0.7925,2.3025), layer=11, texttype=0))
c_example_config_freepdk45_______________.add(gdstk.Label('wl_1', (1.835,2.0925), layer=11, texttype=0))
c_example_config_freepdk45_______________.add(gdstk.Label('in_2', (0.7925,3.1575), layer=11, texttype=0))
c_example_config_freepdk45_______________.add(gdstk.Label('wl_2', (1.835,3.3675), layer=11, texttype=0))
c_example_config_freepdk45_______________.add(gdstk.Label('in_3', (0.7925,5.0325), layer=11, texttype=0))
c_example_config_freepdk45_______________.add(gdstk.Label('wl_3', (1.835,4.8225), layer=11, texttype=0))
c_example_config_freepdk45_______________.add(gdstk.Label('in_4', (0.7925,5.8875), layer=11, texttype=0))
c_example_config_freepdk45_______________.add(gdstk.Label('wl_4', (1.835,6.0975), layer=11, texttype=0))
c_example_config_freepdk45_______________.add(gdstk.Label('in_5', (0.7925,7.7625), layer=11, texttype=0))
c_example_config_freepdk45_______________.add(gdstk.Label('wl_5', (1.835,7.5525), layer=11, texttype=0))
c_example_config_freepdk45_______________.add(gdstk.Label('in_6', (0.7925,8.6175), layer=11, texttype=0))
c_example_config_freepdk45_______________.add(gdstk.Label('wl_6', (1.835,8.8275), layer=11, texttype=0))
c_example_config_freepdk45_______________.add(gdstk.Label('in_7', (0.7925,10.4925), layer=11, texttype=0))
c_example_config_freepdk45_______________.add(gdstk.Label('wl_7', (1.835,10.2825), layer=11, texttype=0))
c_example_config_freepdk45_______________.add(gdstk.Label('in_8', (0.7925,11.3475), layer=11, texttype=0))
c_example_config_freepdk45_______________.add(gdstk.Label('wl_8', (1.835,11.5575), layer=11, texttype=0))
c_example_config_freepdk45_______________.add(gdstk.Label('in_9', (0.7925,13.2225), layer=11, texttype=0))
c_example_config_freepdk45_______________.add(gdstk.Label('wl_9', (1.835,13.0125), layer=11, texttype=0))
c_example_config_freepdk45_______________.add(gdstk.Label('in_10', (0.7925,14.0775), layer=11, texttype=0))
c_example_config_freepdk45_______________.add(gdstk.Label('wl_10', (1.835,14.2875), layer=11, texttype=0))
c_example_config_freepdk45_______________.add(gdstk.Label('in_11', (0.7925,15.9525), layer=11, texttype=0))
c_example_config_freepdk45_______________.add(gdstk.Label('wl_11', (1.835,15.7425), layer=11, texttype=0))
c_example_config_freepdk45_______________.add(gdstk.Label('in_12', (0.7925,16.8075), layer=11, texttype=0))
c_example_config_freepdk45_______________.add(gdstk.Label('wl_12', (1.835,17.0175), layer=11, texttype=0))
c_example_config_freepdk45_______________.add(gdstk.Label('in_13', (0.7925,18.6825), layer=11, texttype=0))
c_example_config_freepdk45_______________.add(gdstk.Label('wl_13', (1.835,18.4725), layer=11, texttype=0))
c_example_config_freepdk45_______________.add(gdstk.Label('in_14', (0.7925,19.5375), layer=11, texttype=0))
c_example_config_freepdk45_______________.add(gdstk.Label('wl_14', (1.835,19.7475), layer=11, texttype=0))
c_example_config_freepdk45_______________.add(gdstk.Label('in_15', (0.7925,21.4125), layer=11, texttype=0))
c_example_config_freepdk45_______________.add(gdstk.Label('wl_15', (1.835,21.2025), layer=11, texttype=0))
c_example_config_freepdk45_______________.add(gdstk.Label('vdd', (2.15,10.92), layer=17, texttype=0))
c_example_config_freepdk45_______________.add(gdstk.Label('gnd', (0.56,10.92), layer=17, texttype=0))

lib.write_gds('example_config_freepdk45_wordline_driver_array.gds')
